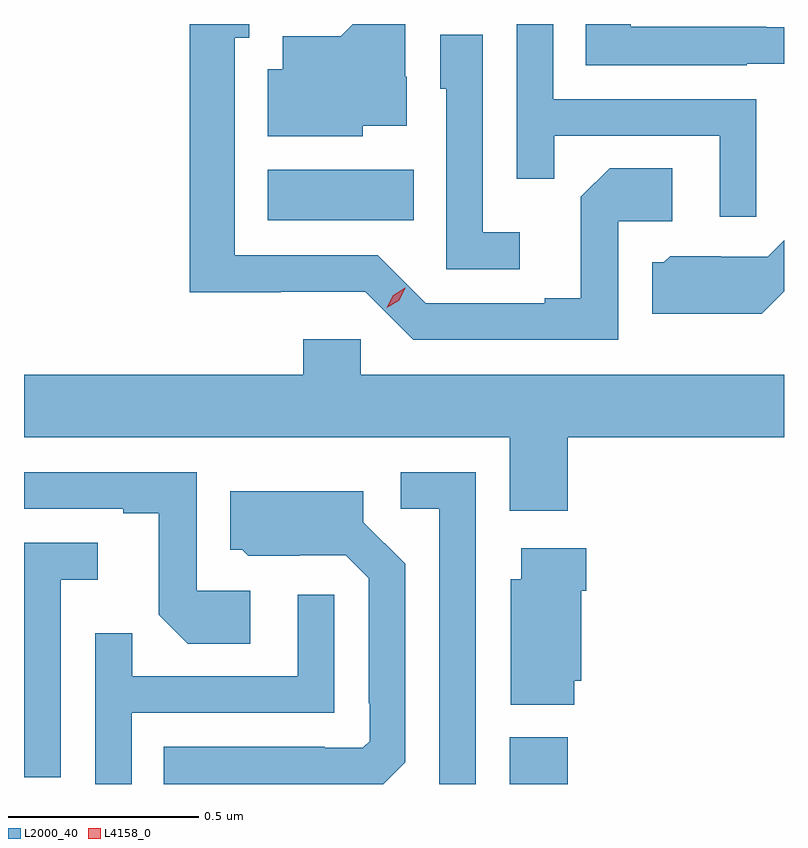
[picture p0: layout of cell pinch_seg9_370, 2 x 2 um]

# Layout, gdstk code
import gdstk
lib = gdstk.Library(unit=1e-6, precision=1e-09)
def R(c, l, rs):  # rectangles x0, y0, x1, y1
    for r in rs: c.add(gdstk.rectangle(r[:2], r[2:], *l))
def P(c, l, *ps):  # polygons
    for p in ps: c.add(gdstk.Polygon(p, *l))
L2000_40 = (2000, 40)
L4158_0 = (4158, 0)

pinch_seg9_370 = lib.new_cell('pinch_seg9_370')
R(pinch_seg9_370, L2000_40, [(611.534,1188.847,611.687,1188.97), (610.898,1190.33,611.282,1190.464)])
P(pinch_seg9_370, L2000_40, [(611.82,1190.328),(611.962,1190.328),(611.962,1190.468),(611.797,1190.468),(611.721,1190.392),(611.721,1190.125),(611.627,1190.125),(611.627,1190.112),(611.313,1190.112),(611.187,1190.238),(610.81,1190.238),(610.81,1190.811),(610.849,1190.811),(610.849,1190.847),(610.692,1190.847),(610.692,1190.141),(610.932,1190.141),(610.932,1190.142),(611.154,1190.142),(611.28,1190.016),(611.82,1190.016)],
  [(611.148,1190.579),(611.263,1190.579),(611.263,1190.708),(611.259,1190.708),(611.259,1190.847),(611.121,1190.847),(611.089,1190.815),(610.937,1190.815),(610.937,1190.728),(610.898,1190.728),(610.898,1190.552),(611.148,1190.552)],
  [(612.183,1190.649),(611.649,1190.649),(611.649,1190.847),(611.553,1190.847),(611.553,1190.44),(611.651,1190.44),(611.651,1190.553),(612.087,1190.553),(612.087,1190.34),(612.183,1190.34)],
  [(612.158,1190.742),(612.256,1190.742),(612.256,1190.839),(612.209,1190.839),(612.209,1190.84),(611.853,1190.84),(611.853,1190.847),(611.734,1190.847),(611.734,1190.739),(612.158,1190.739)],
  [(611.56,1190.299),(611.463,1190.299),(611.463,1190.819),(611.352,1190.819),(611.352,1190.676),(611.367,1190.676),(611.367,1190.202),(611.56,1190.202)],
  [(612.256,1190.144),(612.256,1190.278),(612.213,1190.235),(612.09,1190.235),(612.09,1190.236),(611.956,1190.236),(611.94,1190.22),(611.909,1190.22),(611.909,1190.084),(612.197,1190.084)],
  [(611.687,1189.76),(612.256,1189.76),(612.256,1189.924),(611.142,1189.924),(611.142,1190.017),(610.991,1190.017),(610.991,1189.924),(610.256,1189.924),(610.256,1189.76),(611.534,1189.76),(611.534,1189.566),(611.687,1189.566)],
  [(611.445,1189.668),(611.247,1189.668),(611.247,1189.572),(611.349,1189.572),(611.349,1188.847),(611.445,1188.847)],
  [(610.852,1189.356),(610.71,1189.356),(610.71,1189.668),(610.256,1189.668),(610.256,1189.572),(610.517,1189.572),(610.517,1189.56),(610.611,1189.56),(610.611,1189.292),(610.687,1189.216),(610.852,1189.216)],
  [(611.259,1188.904),(611.259,1189.426),(611.149,1189.536),(611.149,1189.618),(610.799,1189.618),(610.799,1189.464),(610.83,1189.464),(610.846,1189.448),(610.98,1189.448),(610.98,1189.449),(611.103,1189.449),(611.163,1189.389),(611.163,1189.06),(611.166,1189.06),(611.166,1188.96),(611.148,1188.942),(611.048,1188.942),(611.048,1188.945),(610.624,1188.945),(610.624,1188.847),(611.202,1188.847)],
  [(610.353,1189.385),(610.45,1189.385),(610.45,1189.482),(610.257,1189.482),(610.257,1189.008),(610.256,1189.008),(610.256,1188.865),(610.353,1188.865)],
  [(611.704,1189.119),(611.722,1189.119),(611.722,1189.355),(611.735,1189.355),(611.735,1189.468),(611.564,1189.468),(611.564,1189.386),(611.537,1189.386),(611.537,1189.055),(611.704,1189.055)],
  [(610.539,1189.035),(611.073,1189.035),(611.073,1189.345),(610.977,1189.345),(610.977,1189.131),(610.541,1189.131),(610.541,1189.244),(610.443,1189.244),(610.443,1188.847),(610.539,1188.847)])
P(pinch_seg9_370, L4158_0, [(611.211,1190.1),(611.211,1190.1),(611.228,1190.133),(611.259,1190.153),(611.259,1190.153),(611.259,1190.152),(611.242,1190.119),(611.211,1190.1)])

lib.write_gds('pinch_seg9_370.gds')
